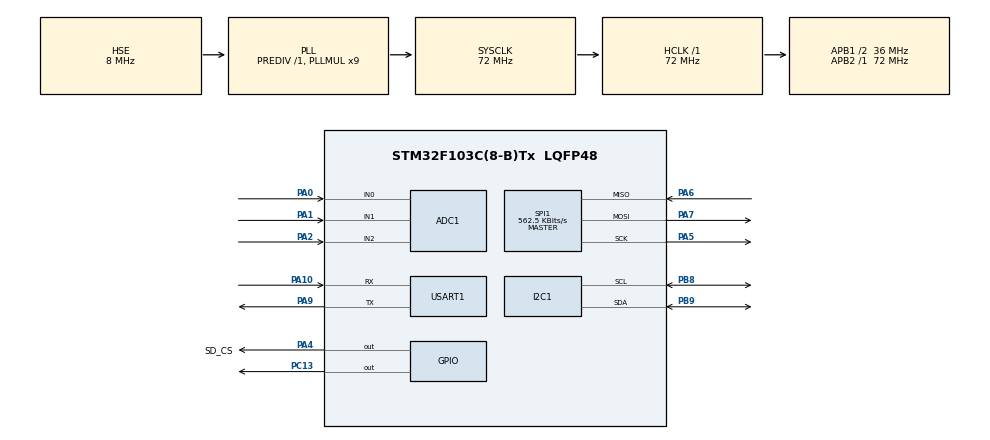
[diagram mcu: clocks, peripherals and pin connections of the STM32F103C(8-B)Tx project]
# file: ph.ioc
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ADC1.Channel-0\#ChannelRegularConversion=ADC_CHANNEL_2
ADC1.ContinuousConvMode=ENABLE
ADC1.NbrOfConversionFlag=1
ADC1.Rank-0\#ChannelRegularConversion=1
ADC1.SamplingTime-0\#ChannelRegularConversion=ADC_SAMPLETIME_239CYCLES_5
ADC1.master=1
Mcu.Family=STM32F1
Mcu.Name=STM32F103C(8-B)Tx
Mcu.Package=LQFP48
NVIC.PriorityGroup=NVIC_PRIORITYGROUP_4
PA0-WKUP.Signal=ADCx_IN0
PA1.Signal=ADCx_IN1
PA10.Mode=Asynchronous
PA10.Signal=USART1_RX
PA13.Mode=Serial_Wire
PA13.Signal=SYS_JTMS-SWDIO
PA14.Mode=Serial_Wire
PA14.Signal=SYS_JTCK-SWCLK
PA2.Signal=ADCx_IN2
PA4.GPIO_Label=SD_CS
PA4.Signal=GPIO_Output
PA5.Mode=Full_Duplex_Master
PA5.Signal=SPI1_SCK
PA6.Mode=Full_Duplex_Master
PA6.Signal=SPI1_MISO
PA7.Mode=Full_Duplex_Master
PA7.Signal=SPI1_MOSI
PA9.Mode=Asynchronous
PA9.Signal=USART1_TX
PB8.Mode=I2C
PB8.Signal=I2C1_SCL
PB9.Mode=I2C
PB9.Signal=I2C1_SDA
PC13-TAMPER-RTC.Signal=GPIO_Output
PD0-OSC_IN.Mode=HSE-External-Oscillator
PD0-OSC_IN.Signal=RCC_OSC_IN
PD1-OSC_OUT.Mode=HSE-External-Oscillator
PD1-OSC_OUT.Signal=RCC_OSC_OUT
ProjectManager.HeapSize=0x200
ProjectManager.StackSize=0x400
ProjectManager.TargetToolchain=CMake
RCC.ADCPresc=RCC_ADCPCLK2_DIV6
RCC.AHBFreq_Value=72000000
RCC.APB1CLKDivider=RCC_HCLK_DIV2
RCC.APB1Freq_Value=36000000
RCC.APB1TimFreq_Value=72000000
RCC.APB2Freq_Value=72000000
RCC.APB2TimFreq_Value=72000000
RCC.HCLKFreq_Value=72000000
RCC.PLLMUL=RCC_PLL_MUL9
RCC.PLLSourceVirtual=RCC_PLLSOURCE_HSE
RCC.SYSCLKFreq_VALUE=72000000
RCC.SYSCLKSource=RCC_SYSCLKSOURCE_PLLCLK
RCC.USBFreq_Value=72000000
SH.ADCx_IN0.0=ADC1_IN0,IN0
SH.ADCx_IN1.0=ADC1_IN1,IN1
SH.ADCx_IN2.0=ADC1_IN2,IN2
SPI1.BaudRatePrescaler=SPI_BAUDRATEPRESCALER_128
SPI1.CalculateBaudRate=562.5 KBits/s
SPI1.Direction=SPI_DIRECTION_2LINES
SPI1.Mode=SPI_MODE_MASTER
SPI1.VirtualType=VM_MASTER
USART1.VirtualMode=VM_ASYNC
VP_FATFS_VS_Generic.Mode=User_defined
board=custom

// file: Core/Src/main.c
/* USER CODE BEGIN Header */
/**
  ******************************************************************************
  * @file           : main.c
  * @brief          : Main program body
  ******************************************************************************
  * @attention
  *
  * Copyright (c) 2025 STMicroelectronics.
  * All rights reserved.
  *
  * This software is licensed under terms that can be found in the LICENSE file
  * in the root directory of this software component.
  * If no LICENSE file comes with this software, it is provided AS-IS.
  *
  ******************************************************************************
  */
/* USER CODE END Header */
#include "main.h"
#include "adc.h"
#include "fatfs.h"
#include "i2c.h"
#include "spi.h"
#include "usart.h"
#include "gpio.h"

/* USER CODE BEGIN Includes */
#include "ph.h"
#include "oled.h"
#include "ds18b20.h"
#include "sdcard.h"
#include <stdio.h>
#include "tds.h"
#include "turbidity.h"

/* USER CODE END Includes */

/* USER CODE BEGIN PD */

/* 浊度百分比映射上限（TU 对应 100%），可根据标定调整 */
#define TURB_MAX_TU   3000.0f

/* USER CODE END PD */

/* USER CODE BEGIN PV */
/* 本工程只用几个全局句柄（ADC / I2C / UART），
 * 传感器参数尽量放到各自模块里维护，避免在 main 里到处散落 */
/* USER CODE END PV */

void SystemClock_Config(void);

/* USER CODE BEGIN 0 */

/* 重定向 printf 到 USART1，方便串口调试 */
int __io_putchar(int ch)
{
  HAL_UART_Transmit(&huart1, (uint8_t *)&ch, 1, HAL_MAX_DELAY);
  return ch;
}

/* 统一保存当前一次采集到的所有水质参数 */
typedef struct
{
  float ph;        /* pH 值 */
  float temp_c;    /* 温度 ℃，来自 DS18B20 */
  float tds_ppm;   /* TDS ppm，如果论文不用，可以忽略 */
  float turbidity; /* 浊度 TU */
} SensorData_t;

/* 全局一份当前数据 */
static SensorData_t g_sensorData;
static uint32_t g_sdLogCounter = 0;

/**
 * @brief  读取所有传感器数据
 * @param  data  输出结构体指针
 * @param  K     浊度标定公式中的截距参数
 * @note   后续如果你增加溶解氧、电导率，可以在这里一并采集
 */
static void App_ReadSensors(SensorData_t *data, float K)
{
  if (data == NULL) return;

  /* 1. pH，内部已经做了电压转 pH 以及简单滤波 */
  data->ph = PH_ReadPH();

  /* 2. 温度，异常值暂时由显示函数处理 */
  data->temp_c = DS18B20_GetTemperature();

  /* 3. TDS，如果论文暂时不写 TDS，可以只保留 ph / turbidity / temp */
  data->tds_ppm = TDS_ReadPPM();

  /* 4. 浊度：先读电压，再用带温度补偿的公式计算 TU */
  float turb_v = Turbidity_ReadVoltage();
  data->turbidity = Turbidity_Calc(turb_v, data->temp_c, K);
}

/**
 * @brief  更新 OLED 上的显示内容
 * @param  data  输入的水质参数
 * @note   OLED 使用 8 行（page），这里每两行显示一项
 */
static void App_UpdateDisplay(const SensorData_t *data)
{
  if (data == NULL) return;

  char line[24];

  /* 第 0 行：pH 值 */
  snprintf(line, sizeof(line), "pH: %.2f", (double)data->ph);
  OLED_PrintLarge(0, 0, line);

  /* 第 2 行：温度，异常值用 -- 占位 */
  if (data->temp_c < -50.0f || data->temp_c > 125.0f)
  {
    snprintf(line, sizeof(line), "T: --");
  }
  else
  {
    snprintf(line, sizeof(line), "T: %.1fC", (double)data->temp_c);
  }
  OLED_PrintLarge(0, 2, line);

  /* 第 4 行：TDS（如果不用可以删掉这两行） */
  snprintf(line, sizeof(line), "TDS: %.0fppm", (double)data->tds_ppm);
  OLED_PrintLarge(0, 4, line);

  /* 第 6 行：浊度 0~100% 等级显示
   * 这里把 TU 按 0~TURB_MAX_TU 映射到 0~100%，并保留一位小数 */
  float turb_level = data->turbidity * 100.0f / TURB_MAX_TU;
  if (turb_level < 0.0f)   turb_level = 0.0f;
  if (turb_level > 100.0f) turb_level = 100.0f;
  snprintf(line, sizeof(line), "T: %4.1f%%", (double)turb_level);
  OLED_PrintLarge(0, 6, line);
}

/* USER CODE END 0 */

int main(void)
{

  /* MCU Configuration--------------------------------------------------------*/

  /* Reset of all peripherals, Initializes the Flash interface and the Systick. */
  HAL_Init();

  /* Configure the system clock */
  SystemClock_Config();

  /* Initialize all configured peripherals */
  MX_GPIO_Init();
  MX_ADC1_Init();
  MX_USART1_UART_Init();
  MX_I2C1_Init();
  MX_SPI1_Init();
  MX_FATFS_Init();
  /* USER CODE BEGIN 2 */
  /* 初始化 OLED 显示屏（I2C 接 I2C1） */
  OLED_Init();
  OLED_Clear();

  /* 初始化 DS18B20 温度传感器，数据脚接在 PB6 */
  uint8_t ds18b20_ok = DS18B20_Init();
  if (ds18b20_ok != 0U)
  {
    /* 如果初始化失败，OLED 上提示一下，但不中断主程序 */
    OLED_PrintLarge(0, 0, "TEMP ERR");
  }

  /* 浊度公式：TU = -865.68 * U25 + K
   * 其中 K 为你实测标定得到的截距，这里先给一个默认值。
   * 后续你做浊度标定实验时，可以把拟合出来的 K 写到这里。*/
  float K = 3200.0f;

  /* 初始化 SD 卡与文件系统（FatFs）并打开数据日志文件 */
  int sd_ok = SD_Card_Init();
  if (sd_ok != 0)
  {
    /* 若 SD 卡初始化失败，不影响主功能，仅在屏幕上提示 */
    OLED_PrintLarge(0, 6, "SD ERR");
  }
  /* USER CODE END 2 */

  /* Infinite loop */
  while (1)
  {

    /* USER CODE BEGIN 3 */
    /* 周期性任务：采集 -> 显示 -> 通过串口发送一帧数据给上位机 */
    App_ReadSensors(&g_sensorData, K);
    App_UpdateDisplay(&g_sensorData);

    /* 每 5 秒向 SD 卡追加一帧数据 */
    g_sdLogCounter++;
    if (g_sdLogCounter >= 5)
    {
      SD_Card_Log(g_sensorData.ph,
                  g_sensorData.tds_ppm,
                  g_sensorData.temp_c,
                  g_sensorData.turbidity);
      g_sdLogCounter = 0;
    }

    /* 串口统一输出一帧数据（方便 Python / PyQt5 上位机解析）：
     * 形如：
     *   PH=7.02;TEMP=25.3;TU=123.4;TDS=250\r\n
     * 你在上位机只需按 ';' 分割，再按 '=' 取值即可。
     */
    printf("PH=%.2f;TEMP=%.2f;TU=%.2f;TDS=%.0f\r\n",
           (double)g_sensorData.ph,
           (double)g_sensorData.temp_c,
           (double)g_sensorData.turbidity,
           (double)g_sensorData.tds_ppm);

    /* 采样周期：1 秒
     * 若以后需要更高实时性（例如 5Hz），可以把这个改小，
     * 或者用定时器中断/RTOS 来做，这在论文中也可以写成“改进方向”。 */
    HAL_Delay(1000);
  }
  /* USER CODE END 3 */
}

void SystemClock_Config(void)
{
  RCC_OscInitTypeDef RCC_OscInitStruct = {0};
  RCC_ClkInitTypeDef RCC_ClkInitStruct = {0};
  RCC_PeriphCLKInitTypeDef PeriphClkInit = {0};

  /** Initializes the RCC Oscillators according to the specified parameters
  * in the RCC_OscInitTypeDef structure.
  */
  RCC_OscInitStruct.OscillatorType = RCC_OSCILLATORTYPE_HSE;
  RCC_OscInitStruct.HSEState = RCC_HSE_ON;
  RCC_OscInitStruct.HSEPredivValue = RCC_HSE_PREDIV_DIV1;
  RCC_OscInitStruct.HSIState = RCC_HSI_ON;
  RCC_OscInitStruct.PLL.PLLState = RCC_PLL_ON;
  RCC_OscInitStruct.PLL.PLLSource = RCC_PLLSOURCE_HSE;
  RCC_OscInitStruct.PLL.PLLMUL = RCC_PLL_MUL9;
  if (HAL_RCC_OscConfig(&RCC_OscInitStruct) != HAL_OK)
  {
    Error_Handler();
  }

  /** Initializes the CPU, AHB and APB buses clocks
  */
  RCC_ClkInitStruct.ClockType = RCC_CLOCKTYPE_HCLK|RCC_CLOCKTYPE_SYSCLK
                              |RCC_CLOCKTYPE_PCLK1|RCC_CLOCKTYPE_PCLK2;
  RCC_ClkInitStruct.SYSCLKSource = RCC_SYSCLKSOURCE_PLLCLK;
  RCC_ClkInitStruct.AHBCLKDivider = RCC_SYSCLK_DIV1;
  RCC_ClkInitStruct.APB1CLKDivider = RCC_HCLK_DIV2;
  RCC_ClkInitStruct.APB2CLKDivider = RCC_HCLK_DIV1;

  if (HAL_RCC_ClockConfig(&RCC_ClkInitStruct, FLASH_LATENCY_2) != HAL_OK)
  {
    Error_Handler();
  }
  PeriphClkInit.PeriphClockSelection = RCC_PERIPHCLK_ADC;
  PeriphClkInit.AdcClockSelection = RCC_ADCPCLK2_DIV6;
  if (HAL_RCCEx_PeriphCLKConfig(&PeriphClkInit) != HAL_OK)
  {
    Error_Handler();
  }
}

void Error_Handler(void)
{
  __disable_irq();
  while (1)
  {
  }
}
